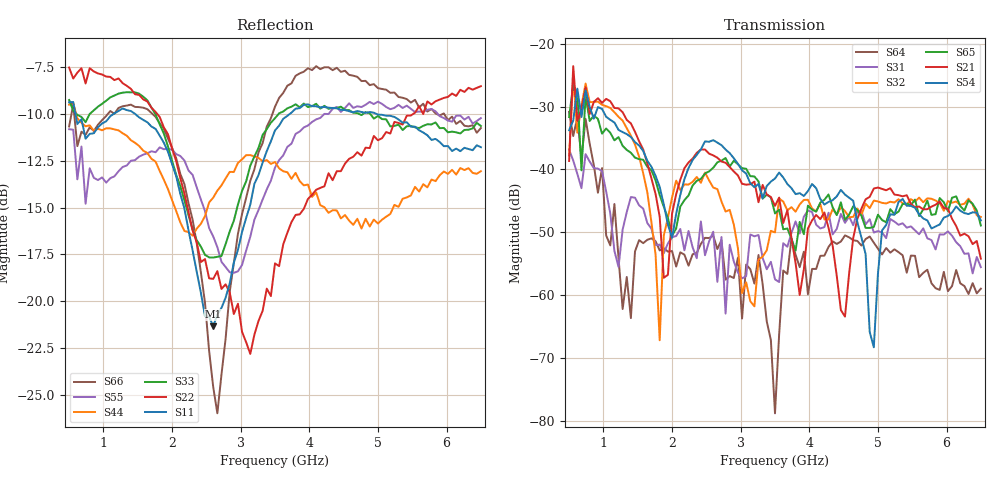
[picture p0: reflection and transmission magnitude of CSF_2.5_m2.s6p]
!Keysight Technologies,M9804A,MY58100912,A.14.10.03
!Date: Thursday, April 27, 2023 10:28:33
!Correction: S11(C  6-Port  )
!S12(C  6-Port  )
!S13(C  6-Port  )
!S14(C  6-Port  )
!S15(C  6-Port  )
!S16(C  6-Port  )
!S21(C  6-Port  )
!S22(C  6-Port  )
!S23(C  6-Port  )
!S24(C  6-Port  )
!S25(C  6-Port  )
!S26(C  6-Port  )
!S31(C  6-Port  )
!S32(C  6-Port  )
!S33(C  6-Port  )
!S34(C  6-Port  )
!S35(C  6-Port  )
!S36(C  6-Port  )
!S41(C  6-Port  )
!S42(C  6-Port  )
!S43(C  6-Port  )
!S44(C  6-Port  )
!S45(C  6-Port  )
!S46(C  6-Port  )
!S51(C  6-Port  )
!S52(C  6-Port  )
!S53(C  6-Port  )
!S54(C  6-Port  )
!S55(C  6-Port  )
!S56(C  6-Port  )
!S61(C  6-Port  )
!S62(C  6-Port  )
!S63(C  6-Port  )
!S64(C  6-Port  )
!S65(C  6-Port  )
!S66(C  6-Port  )
!S6P File: Measurement: :
# Hz S  RI  R 50
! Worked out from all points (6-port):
!   101 points, 500 MHz to 6.5 GHz, reference 50 ohm
!   strongest paths, dB at 500 MHz, 2 GHz, 3.5 GHz, 5 GHz, 6.5 GHz:
!     S54: -33.8, -50.9, -41.4, -56.6, -48.1
!     S21: -38.6, -47.0, -45.8, -42.9, -54.2
!     S65: -31.7, -50.5, -47.0, -47.2, -48.9
!     S32: -37.8, -44.4, -50.0, -45.1, -47.5
!     S31: -36.8, -50.7, -57.5, -49.8, -55.5
!     S64: -30.9, -53.0, -78.7, -52.6, -58.9
!   lowest |S11| = -21.3 dB at 2.6 GHz (marker M1), VSWR 1.19, Z = 42.4 + j2.27 ohm
!   |S11| at or under -10 dB: 593.1 MHz to 1.143 GHz (549.8 MHz wide, 63.3 % of centre); 1.466 GHz to 3.711 GHz (2.245 GHz wide, 86.7 % of centre); 4.988 GHz to end of sweep
